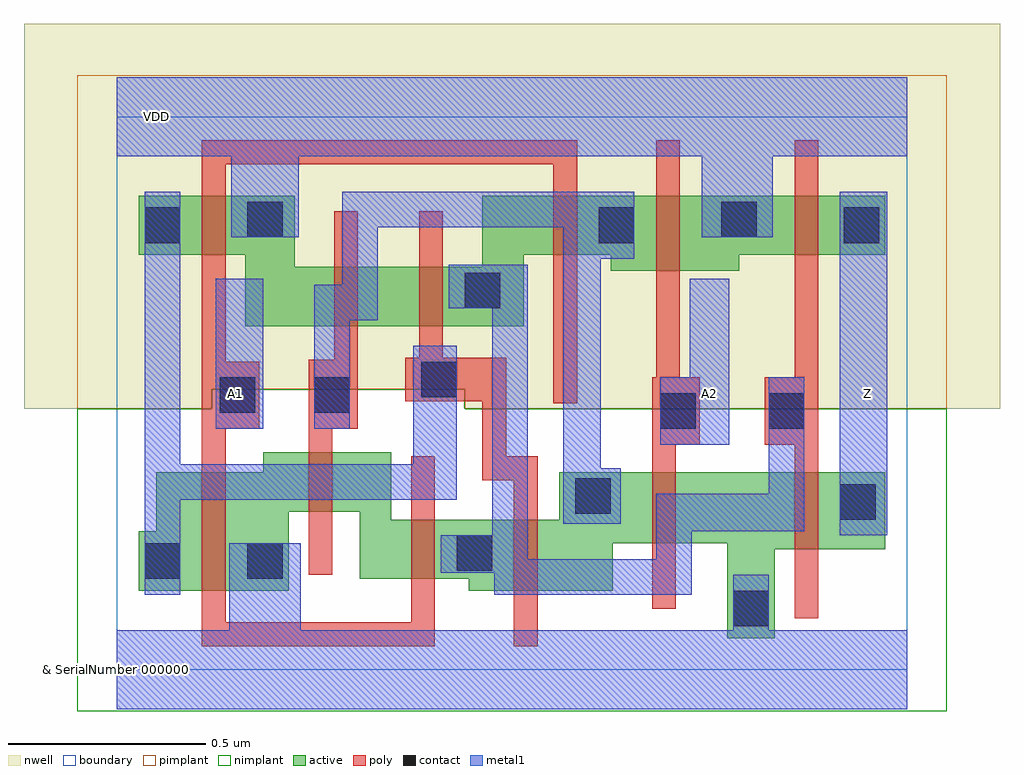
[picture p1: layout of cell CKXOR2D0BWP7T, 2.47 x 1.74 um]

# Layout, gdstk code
import gdstk
lib = gdstk.Library(unit=1e-6, precision=1e-09)
def R(c, l, rs):  # rectangles x0, y0, x1, y1
    for r in rs: c.add(gdstk.rectangle(r[:2], r[2:], *l))
def P(c, l, *ps):  # polygons
    for p in ps: c.add(gdstk.Polygon(p, *l))
nwell = (3, 0)
active = (6, 0)
poly = (17, 0)
pimplant = (25, 0)
nimplant = (26, 0)
contact = (30, 0)
metal1 = (31, 0)
boundary = (108, 0)

ckxor2d0bwp7t = lib.new_cell('CKXOR2D0BWP7T')
P(ckxor2d0bwp7t, nwell, [(0.88,0.66),(0.88,0.71),(0.24,0.71),(0.24,0.66),(-0.235,0.66),(-0.235,1.635),(2.235,1.635),(2.235,0.66)])
P(ckxor2d0bwp7t, active, [(0.325,0.87),(0.325,1.05),(0.055,1.05),(0.055,1.2),(0.45,1.2),(0.45,1.02),(0.925,1.02),(0.925,1.2),(1.945,1.2),(1.945,1.05),(1.575,1.05),(1.575,1.01),(1.25,1.01),(1.25,1.05),(1.03,1.05),(1.03,0.87)],
  [(1.545,0.08),(1.545,0.32),(1.255,0.32),(1.255,0.2),(0.89,0.2),(0.89,0.23),(0.615,0.23),(0.615,0.4),(0.435,0.4),(0.435,0.2),(0.055,0.2),(0.055,0.35),(0.1,0.35),(0.1,0.5),(0.37,0.5),(0.37,0.55),(0.695,0.55),(0.695,0.38),(1.12,0.38),(1.12,0.5),(1.945,0.5),(1.945,0.305),(1.665,0.305),(1.665,0.08)])
P(ckxor2d0bwp7t, poly, [(1.715,0.13),(1.715,0.57),(1.64,0.57),(1.64,0.74),(1.715,0.74),(1.715,1.34),(1.775,1.34),(1.775,0.13)],
  [(0.485,0.24),(0.485,0.785),(0.55,0.785),(0.55,1.16),(0.61,1.16),(0.61,0.61),(0.545,0.61),(0.545,0.24)],
  [(0.73,0.68),(0.73,0.79),(0.765,0.79),(0.765,1.16),(0.825,1.16),(0.825,0.79),(0.985,0.79),(0.985,0.54),(1.065,0.54),(1.065,0.06),(1.005,0.06),(1.005,0.48),(0.925,0.48),(0.925,0.68)],
  [(1.355,0.155),(1.355,0.74),(1.365,0.74),(1.365,1.34),(1.425,1.34),(1.425,0.74),(1.475,0.74),(1.475,0.57),(1.415,0.57),(1.415,0.155)],
  [(0.215,0.06),(0.215,1.34),(1.165,1.34),(1.165,0.675),(1.105,0.675),(1.105,1.28),(0.275,1.28),(0.275,0.78),(0.36,0.78),(0.36,0.61),(0.275,0.61),(0.275,0.12),(0.745,0.12),(0.745,0.54),(0.805,0.54),(0.805,0.06)])
P(ckxor2d0bwp7t, pimplant, [(0.88,0.66),(0.88,0.71),(0.24,0.71),(0.24,0.66),(-0.1,0.66),(-0.1,1.505),(2.1,1.505),(2.1,0.66)])
P(ckxor2d0bwp7t, nimplant, [(-0.1,-0.105),(-0.1,0.66),(0.24,0.66),(0.24,0.71),(0.88,0.71),(0.88,0.66),(2.1,0.66),(2.1,-0.105)])
R(ckxor2d0bwp7t, contact, [(1.56,0.11,1.65,0.2), (0.07,0.23,0.16,0.32), (0.33,0.23,0.42,0.32), (0.86,0.25,0.95,0.34), (1.83,0.38,1.92,0.47), (1.16,0.395,1.25,0.485), (1.375,0.61,1.465,0.7), (1.65,0.61,1.74,0.7), (0.26,0.65,0.35,0.74), (0.5,0.65,0.59,0.74), (0.77,0.69,0.86,0.78), (0.88,0.915,0.97,1.005), (0.07,1.08,0.16,1.17), (1.22,1.08,1.31,1.17), (1.84,1.08,1.93,1.17), (0.33,1.095,0.42,1.185), (1.53,1.095,1.62,1.185)])
R(ckxor2d0bwp7t, metal1, [(1.83,0.34,1.95,1.21), (0.25,0.61,0.37,0.99)])
P(ckxor2d0bwp7t, metal1, [(1.375,0.57),(1.375,0.74),(1.45,0.74),(1.45,0.99),(1.55,0.99),(1.55,0.57)],
  [(0.07,0.19),(0.07,1.21),(0.16,1.21),(0.16,0.52),(0.75,0.52),(0.75,0.82),(0.86,0.82),(0.86,0.43),(0.16,0.43),(0.16,0.19)],
  [(0.955,0.19),(0.955,0.245),(0.82,0.245),(0.82,0.34),(0.95,0.34),(0.95,0.915),(0.84,0.915),(0.84,1.025),(1.04,1.025),(1.04,0.28),(1.365,0.28),(1.365,0.445),(1.65,0.445),(1.65,0.74),(1.74,0.74),(1.74,0.35),(1.455,0.35),(1.455,0.19)],
  [(1.13,0.37),(1.13,1.12),(0.66,1.12),(0.66,0.885),(0.59,0.885),(0.59,0.61),(0.5,0.61),(0.5,0.975),(0.57,0.975),(0.57,1.21),(1.31,1.21),(1.31,1.04),(1.225,1.04),(1.225,0.51),(1.275,0.51),(1.275,0.37)],
  [(0.29,1.095),(0.29,1.3),(0,1.3),(0,1.5),(2,1.5),(2,1.3),(1.66,1.3),(1.66,1.095),(1.48,1.095),(1.48,1.3),(0.46,1.3),(0.46,1.095)],
  [(0,-0.1),(2,-0.1),(2,0.1),(1.65,0.1),(1.65,0.24),(1.56,0.24),(1.56,0.1),(0.465,0.1),(0.465,0.32),(0.285,0.32),(0.285,0.1),(0,0.1)])
R(ckxor2d0bwp7t, boundary, [(0,0,2,1.4)])
ckxor2d0bwp7t.add(gdstk.Label('& SerialNumber 000000', (0,0), layer=63, texttype=63))
ckxor2d0bwp7t.add(gdstk.Label('& Distributor TSMC', (0,0), layer=63, texttype=63))
ckxor2d0bwp7t.add(gdstk.Label('& Metric 2.800', (0,0), layer=63, texttype=63))
ckxor2d0bwp7t.add(gdstk.Label('& _Instance_tag CKXOR2D0BWP7T', (0,0), layer=63, texttype=63))
ckxor2d0bwp7t.add(gdstk.Label('& Version 141a', (0,0), layer=63, texttype=63))
ckxor2d0bwp7t.add(gdstk.Label('& Product tcbn65lpbwp7t', (0,0), layer=63, texttype=63))
ckxor2d0bwp7t.add(gdstk.Label('& Vendor Taiwan Semiconductor Manufacturing Corp.', (0,0), layer=63, texttype=63))
ckxor2d0bwp7t.add(gdstk.Label('& SerialNumber 000000', (0,0), layer=6, texttype=0))
ckxor2d0bwp7t.add(gdstk.Label('& Distributor TSMC', (0,0), layer=6, texttype=0))
ckxor2d0bwp7t.add(gdstk.Label('& Metric 2.800', (0,0), layer=6, texttype=0))
ckxor2d0bwp7t.add(gdstk.Label('& _Instance_tag CKXOR2D0BWP7T', (0,0), layer=6, texttype=0))
ckxor2d0bwp7t.add(gdstk.Label('& Version 141a', (0,0), layer=6, texttype=0))
ckxor2d0bwp7t.add(gdstk.Label('& Product tcbn65lpbwp7t', (0,0), layer=6, texttype=0))
ckxor2d0bwp7t.add(gdstk.Label('& Vendor Taiwan Semiconductor Manufacturing Corp.', (0,0), layer=6, texttype=0))
ckxor2d0bwp7t.add(gdstk.Label('VSS', (0.1,0), layer=131, texttype=0))
ckxor2d0bwp7t.add(gdstk.Label('VDD', (0.1,1.4), layer=131, texttype=0))
ckxor2d0bwp7t.add(gdstk.Label('A1', (0.3,0.7), layer=131, texttype=0))
ckxor2d0bwp7t.add(gdstk.Label('A2', (1.5,0.7), layer=131, texttype=0))
ckxor2d0bwp7t.add(gdstk.Label('Z', (1.9,0.7), layer=131, texttype=0))
ckxor2d0bwp7t.add(gdstk.Label('CKXOR2D0BWP7T', (0,0), layer=127, texttype=0))

lib.write_gds('CKXOR2D0BWP7T.gds')
